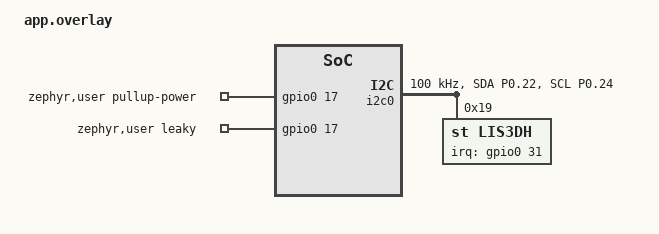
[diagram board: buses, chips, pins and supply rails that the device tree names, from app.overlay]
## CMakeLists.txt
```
cmake_minimum_required(VERSION 3.20.0)

find_package(Zephyr REQUIRED HINTS $ENV{ZEPHYR_BASE})

project(i2c_lis3dh_wake)

target_sources(app PRIVATE 
    src/main.c
    src/imu_driver.c
)

target_include_directories(app PRIVATE 
    include
)
```

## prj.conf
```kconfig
CONFIG_I2C=y
CONFIG_GPIO=y

# Power Management — all three needed
CONFIG_PM=y
CONFIG_PM_DEVICE=y
CONFIG_POWEROFF=y

CONFIG_SPI=n
CONFIG_ADC=n
CONFIG_PWM=n

# Console/Serial — already good
CONFIG_LOG=n
CONFIG_PRINTK=n
CONFIG_SERIAL=n
CONFIG_UART_CONSOLE=n
CONFIG_CONSOLE=n
CONFIG_USB_DEVICE_STACK=n
CONFIG_USB_NRFX=n

CONFIG_BUILD_OUTPUT_UF2=y
```

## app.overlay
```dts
/ {
    /* Define custom pins here to bypass driver YAML validation */
    zephyr,user {
        pullup-power-gpios = <&gpio0 17 GPIO_ACTIVE_HIGH>;
        leaky-gpios = <&gpio0 17 GPIO_ACTIVE_HIGH>;
    };
};

&pinctrl {
    i2c0_default: i2c0_default {
        group1 {
            psels =
                <NRF_PSEL(TWIM_SDA, 0, 22)>,
                <NRF_PSEL(TWIM_SCL, 0, 24)>;
            bias-disable; /* Disables internal pulls so they don't fight external ones */
        };
    };

    i2c0_sleep: i2c0_sleep {
        group1 {
            psels =
                <NRF_PSEL(TWIM_SDA, 0, 22)>,
                <NRF_PSEL(TWIM_SCL, 0, 24)>;
            low-power-enable;
            bias-disable; /* CRITICAL: Wipes pin configuration down on sleep */
        };
    };
};

&i2c0 {
    status = "okay";
    pinctrl-0 = <&i2c0_default>;
    pinctrl-1 = <&i2c0_sleep>;
    pinctrl-names = "default", "sleep";
    
    clock-frequency = <100000>; 

    lis3dh@19 {
        compatible = "st,lis3dh", "st,lis2dh";
        reg = <0x19>;
        status = "okay";
        /* Interrupt pin on P0.31 */
        irq-gpios = <&gpio0 31 (GPIO_ACTIVE_HIGH | GPIO_PULL_DOWN)>;
        anym-on-int1;
    };
};

&uart0 {
    status = "disabled";
};

&i2c1 {
    status = "disabled";
};

&spi2 {
    status = "disabled";
};

&pwm0 {
    status = "disabled";
};
```

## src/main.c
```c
#include <zephyr/kernel.h>
#include <zephyr/device.h>
#include <zephyr/drivers/gpio.h>
#include <zephyr/drivers/i2c.h>
#include <zephyr/drivers/pinctrl.h>
#include <zephyr/sys/printk.h>
#include <zephyr/sys/poweroff.h>
#include <errno.h>
#include <hal/nrf_twim.h>
#include "imu_driver.h"
#include <zephyr/pm/device.h>

static const struct gpio_dt_spec int1_gpio =
    GPIO_DT_SPEC_GET(DT_CHILD(DT_NODELABEL(i2c0), lis3dh_19), irq_gpios);
static const struct gpio_dt_spec led0 =
    GPIO_DT_SPEC_GET(DT_ALIAS(led0), gpios);
static const struct gpio_dt_spec pullup_pwr =
    GPIO_DT_SPEC_GET(DT_PATH(zephyr_user), pullup_power_gpios);

/* ------------------------------------------------------------------
 * PINCTRL GENERATION FIX
 * ------------------------------------------------------------------ */
/* Force Zephyr's build system to compile the pinctrl structures for i2c0 
 * since we aren't using the standard runtime device driver initialization */
// PINCTRL_DT_DEFINE(DT_NODELABEL(i2c0));

// static const struct pinctrl_dev_config *i2c0_pcfg =
//     PINCTRL_DT_DEV_CONFIG_GET(DT_NODELABEL(i2c0));

int main(void)
{
    int rc;
    bool imu_success = true;
    imu_service_t imu_service;
    const struct device *i2c_dev = DEVICE_DT_GET(DT_NODELABEL(i2c0));

    /* ------------------------------------------------------------------
     * LED
     * ------------------------------------------------------------------ */
    if (!gpio_is_ready_dt(&led0)) {
        return -ENODEV;
    }
    rc = gpio_pin_configure_dt(&led0, GPIO_OUTPUT_INACTIVE);
    if (rc < 0) return rc;

    /* ------------------------------------------------------------------
     * POWER RAIL ON
     * ------------------------------------------------------------------ */
    if (!gpio_is_ready_dt(&pullup_pwr)) {
        return -ENODEV;
    }
    rc = gpio_pin_configure_dt(&pullup_pwr, GPIO_OUTPUT_ACTIVE);
    if (rc < 0) return rc;

    /* ------------------------------------------------------------------
     * DEVICE CHECK
     * ------------------------------------------------------------------ */
    if (!device_is_ready(i2c_dev)) {
        printk("I2C not ready\n");
        return -ENODEV;
    }

    if (!gpio_is_ready_dt(&int1_gpio)) {
        imu_success = false;
    }

    /* ------------------------------------------------------------------
     * IMU INIT
     * ------------------------------------------------------------------ */
    if (imu_success) {
        rc = lis3dh_init(&imu_service, i2c_dev);
        if (rc < 0) {
            printk("LIS3DH init failed: %d\n", rc);
            imu_success = false;
        }
    }

    if (imu_success) {
        rc = lis3dh_configure_motion_interrupt(&imu_service);
        if (rc < 0) {
            printk("LIS3DH interrupt config failed: %d\n", rc);
            imu_success = false;
        }
    }

    printk("IMU initialized: %s\n", imu_success ? "OK" : "FAIL");

    /* ------------------------------------------------------------------
     * LED INDICATION
     * ------------------------------------------------------------------ */
    if (imu_success) {
        for (int i = 0; i < 10; i++) {
            gpio_pin_set_dt(&led0, 1);
            k_msleep(500);
            gpio_pin_set_dt(&led0, 0);
            k_msleep(500);
        }
    } else {
        gpio_pin_set_dt(&led0, 1);
        k_msleep(10000);
        gpio_pin_set_dt(&led0, 0);
    }
    /* ------------------------------------------------------------------
     * SHUTDOWN SEQUENCE — target: minimal µA system OFF
     * ------------------------------------------------------------------ */

    /* Ensure LED is off */
    gpio_pin_set_dt(&led0, 0);

    /* Allow any pending I2C transaction to finish */
    k_msleep(10);

    /* 1. Turn off the peripheral */
    if (device_is_ready(i2c_dev)) {
        pm_device_action_run(i2c_dev, PM_DEVICE_ACTION_TURN_OFF);
    }

    /* 2. Turn off your custom pull-up hardware trace */
    gpio_pin_set_dt(&pullup_pwr, 0);

    /* 3. Give the silicon 500 microseconds to completely spin down its clocks */
    k_busy_wait(500);

    /* 4. Configure the wake-up interrupt pin */
    rc = gpio_pin_configure_dt(&int1_gpio, GPIO_INPUT);
    rc = gpio_pin_interrupt_configure_dt(&int1_gpio, GPIO_INT_LEVEL_HIGH);

    /* 5. Final 2ms window to let the level shifter voltages hit 0V */
    k_msleep(2);

    /* 6. Deep sleep */
    sys_poweroff();

    /* Never reached */
    return 0;
}
```

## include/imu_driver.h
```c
#ifndef LIS3DH_IMU_H
#define LIS3DH_IMU_H

#include <zephyr/kernel.h>
#include <zephyr/device.h>

/* LIS3DH I2C Address Options */
#define LIS3DH_ADDR          0x19

/* LIS3DH Register Layout Mapping */
#define LIS3DH_REG_CTRL1     0x20
#define LIS3DH_REG_CTRL2     0x21
#define LIS3DH_REG_CTRL3     0x22
#define LIS3DH_REG_CTRL4     0x23
#define LIS3DH_REG_CTRL5     0x24
#define LIS3DH_REG_CTRL6     0x25
#define LIS3DH_REG_INT1THS   0x32
#define LIS3DH_REG_INT1DUR   0x33
#define LIS3DH_REG_INT1CFG   0x30

/* Context structure containing the I2C bus reference */
typedef struct {
    const struct device *i2c_port;
    uint16_t imu_address;
} imu_service_t;

/**
 * @brief Find and initialize the I2C master bus, and link it to the service.
 * @param service Pointer to the service context structure to populate.
 * @return 0 on success, negative errno code on failure.
 */
int lis3dh_init(imu_service_t *service, const struct device *i2c_bus);

/**
 * @brief Configure LIS3DH interrupt engine for any-motion detection.
 * @param service Pointer to the instantiated tracking service structure.
 * @return 0 on success, negative errno code on failure.
 */
int lis3dh_configure_motion_interrupt(imu_service_t *service);

#endif /* LIS3DH_IMU_H */
```

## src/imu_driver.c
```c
#include <zephyr/drivers/i2c.h>
#include <zephyr/sys/printk.h>
#include <errno.h>
#include "imu_driver.h"

int lis3dh_init(imu_service_t *service, const struct device *i2c_bus)
{
    if (service == NULL) {
        return -EINVAL;
    }

    /* Locate the physical I2C device node defined in your device tree */
    //const struct device *i2c_bus = DEVICE_DT_GET(DT_NODELABEL(i2c0));

    if (!device_is_ready(i2c_bus)) {
        printk("Error: LIS3DH Driver could not bind to i2c0 device node.\n");
        return -ENODEV;
    }

    /* Bind the working bus handles straight into our application context tracking struct */
    service->i2c_port = i2c_bus;
    service->imu_address = LIS3DH_ADDR;

    printk("LIS3DH Driver successfully initialized on i2c0 bus interface.\n");
    return 0;
}

int lis3dh_configure_motion_interrupt(imu_service_t *service)
{
    int rc;

    #define WRITE_REG(reg, val) \
        rc = i2c_reg_write_byte(service->i2c_port, service->imu_address, reg, val); \
        if (rc < 0) { \
            printk("I2C write error at register 0x%X, code: %d\n", reg, rc); \
            return rc; \
        }

    /* 50Hz ODR, Low-power mode enabled, X/Y/Z axes execution turned on */
    WRITE_REG(LIS3DH_REG_CTRL1, 0b01011111); 
    
    /* High-pass filter enabled specifically routing to INT1 layout */
    WRITE_REG(LIS3DH_REG_CTRL2, 0x09);       
    
    /* INT1 IA1 event routed natively to physical INT1 pin */
    WRITE_REG(LIS3DH_REG_CTRL3, 0x40);       
    
    /* Block data update normal, ±4g scale selection */
    WRITE_REG(LIS3DH_REG_CTRL4, 0b00010000);       
    
    /* Latching off: Pin returns to LOW automatically as soon as motion stops */
    WRITE_REG(LIS3DH_REG_CTRL5, 0x00);       
    
    /* Interrupt active HIGH configuration setup */
    WRITE_REG(LIS3DH_REG_CTRL6, 0x00);       
    
    /* Interrupt threshold setting */
    WRITE_REG(LIS3DH_REG_INT1THS, 0b00000010);
    
    /* Minimum event duration filter step counter window */
    WRITE_REG(LIS3DH_REG_INT1DUR, 0x19);     
    
    /* Enable OR event detection logic mapping X, Y, Z high thresholds */
    WRITE_REG(LIS3DH_REG_INT1CFG, 0x2A);     

    #undef WRITE_REG
    return 0;
}
```
